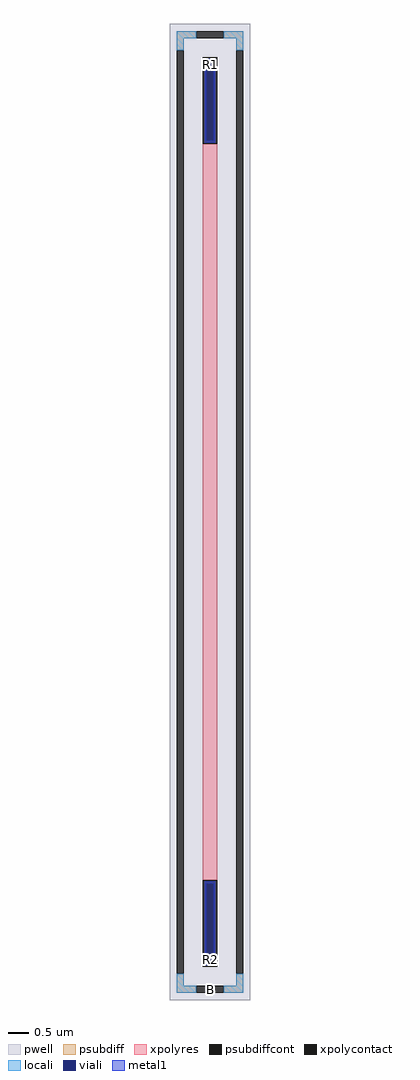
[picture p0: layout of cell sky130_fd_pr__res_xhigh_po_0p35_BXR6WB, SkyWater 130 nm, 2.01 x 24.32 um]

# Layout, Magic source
magic
tech sky130A
magscale 1 2
<< pwell >>
rect -201 -2432 201 2432
<< psubdiff >>
rect -165 2362 -69 2396
rect 69 2362 165 2396
rect -165 2300 -131 2362
rect 131 2300 165 2362
rect -165 -2362 -131 -2300
rect 131 -2362 165 -2300
rect -165 -2396 -69 -2362
rect 69 -2396 165 -2362
<< psubdiffcont >>
rect -69 2362 69 2396
rect -165 -2300 -131 2300
rect 131 -2300 165 2300
rect -69 -2396 69 -2362
<< xpolycontact >>
rect -35 1834 35 2266
rect -35 -2266 35 -1834
<< xpolyres >>
rect -35 -1834 35 1834
<< locali >>
rect -165 2362 -69 2396
rect 69 2362 165 2396
rect -165 2300 -131 2362
rect 131 2300 165 2362
rect -165 -2362 -131 -2300
rect 131 -2362 165 -2300
rect -165 -2396 -69 -2362
rect 69 -2396 165 -2362
<< viali >>
rect -19 1851 19 2248
rect -19 -2248 19 -1851
<< metal1 >>
rect -25 2248 25 2260
rect -25 1851 -19 2248
rect 19 1851 25 2248
rect -25 1839 25 1851
rect -25 -1851 25 -1839
rect -25 -2248 -19 -1851
rect 19 -2248 25 -1851
rect -25 -2260 25 -2248
<< labels >>
rlabel psubdiffcont 0 -2379 0 -2379 0 B
port 1 nsew
rlabel xpolycontact 0 2231 0 2231 0 R1
port 2 nsew
rlabel xpolycontact 0 -2231 0 -2231 0 R2
port 3 nsew
<< properties >>
string FIXED_BBOX -148 -2379 148 2379
string gencell sky130_fd_pr__res_xhigh_po_0p35
string library sky130
string parameters w 0.350 l 18.5 m 1 nx 1 wmin 0.350 lmin 0.50 class resistor rho 2000 val 106.789k dummy 0 dw 0.0 term 188.2 sterm 0.0 caplen 0 wmax 0.350 guard 1 glc 1 grc 1 gtc 1 gbc 1 compatible {sky130_fd_pr__res_xhigh_po_0p35  sky130_fd_pr__res_xhigh_po_0p69 sky130_fd_pr__res_xhigh_po_1p41  sky130_fd_pr__res_xhigh_po_2p85 sky130_fd_pr__res_xhigh_po_5p73} snake 0 full_metal 1 n_guard 0 hv_guard 0 vias 1 viagb 0 viagt 0 viagl 0 viagr 0 doports 1
<< end >>
